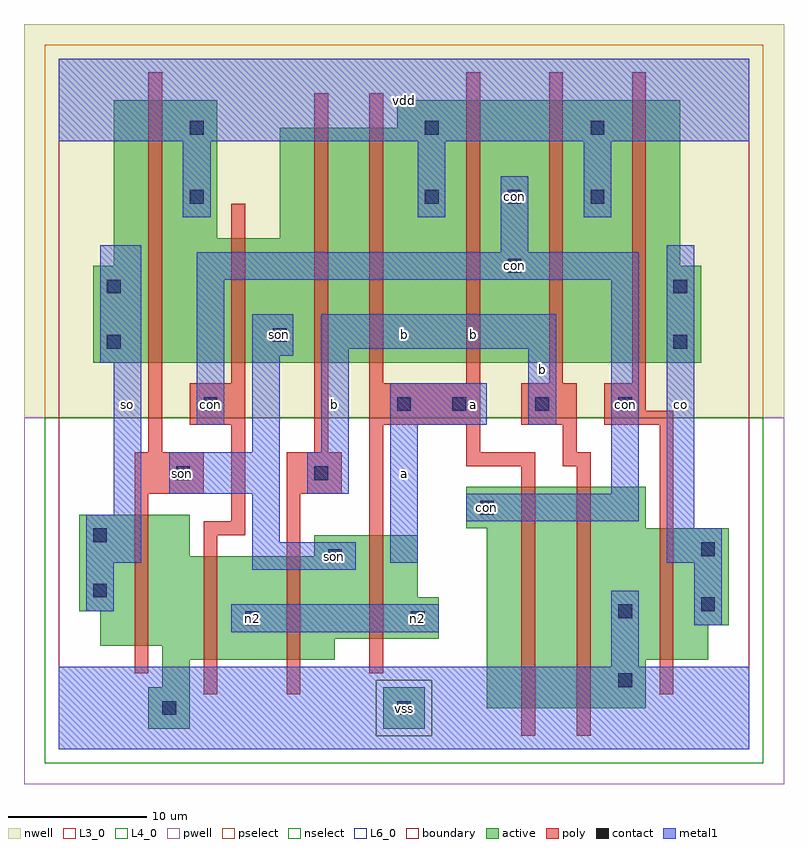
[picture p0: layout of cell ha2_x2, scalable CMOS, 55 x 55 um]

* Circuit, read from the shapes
.subckt ha2_x2 a b co con n2 so son vdd vss
M1 vss son so vss nfet w=9.5u l=1u
M2 n2 con vss vss nfet w=7.5u l=1u
M3 son b n2 vss nfet w=7.5u l=1u
M4 n2 a son vss nfet w=7.5u l=1u
M5 n1 a con vss nfet w=16u l=1u
M6 vss b n1 vss nfet w=16u l=1u
M7 co con vss vss nfet w=9.5u l=1u
M8 vdd son so n3 pfet w=19u l=1u
M9 son con vdd n3 pfet w=9u l=1u
M10 n4 b son n3 pfet w=17u l=1u
M11 vdd a n4 n3 pfet w=17u l=1u
M12 con a vdd n3 pfet w=19u l=1u
M13 vdd b con n3 pfet w=19u l=1u
M14 co con vdd n3 pfet w=19u l=1u
.ends

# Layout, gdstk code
import gdstk
lib = gdstk.Library(unit=1e-6, precision=1e-09)
def R(c, l, rs):  # rectangles x0, y0, x1, y1
    for r in rs: c.add(gdstk.rectangle(r[:2], r[2:], *l))
def A(c, l, x, y, w, h, nx, ny, dx, dy):  # array of equal rectangles
    R(c, l, [(x+i*dx, y+j*dy, x+i*dx+w, y+j*dy+h) for i in range(nx) for j in range(ny)])
L3_0 = (3, 0)
L4_0 = (4, 0)
L6_0 = (6, 0)
contact = (25, 0)
pwell = (41, 0)
nwell = (42, 0)
active = (43, 0)
pselect = (44, 0)
nselect = (45, 0)
poly = (46, 0)
metal1 = (49, 0)
boundary = (63, 0)

ha2_x2 = lib.new_cell('ha2_x2')
R(ha2_x2, L3_0, [(6.5,1.5,9.5,4.5), (31,3,42.5,6.5), (7.5,4.5,9.5,6.5), (7.5,6.5,20,7.5), (31,6.5,47,9), (3,7.5,20,8), (3,8,27.5,10), (31,9,48.5,16), (1.5,10,27.5,11), (1.5,11,26,14), (1.5,14,9.5,17), (18.5,14,26,15.5), (29.5,16,42.5,19)])
R(ha2_x2, L4_0, [(2.5,28,46.5,35), (4,35,45,37), (4,37,11.5,47), (16,37,45,45), (24.5,45,45,47)])
R(ha2_x2, L6_0, [(23.5,1.5,26.5,4.5)])
A(ha2_x2, contact, 28.5, 24.5, 1, 1, 3, 1, 6, 0)
A(ha2_x2, contact, 26.5, 39.5, 1, 1, 3, 1, 6, 0)
R(ha2_x2, contact, [(7.5,2.5,8.5,3.5), (24.5,2.5,25.5,3.5), (40.5,4.5,41.5,5.5), (13.5,9,14.5,10), (25.5,9,26.5,10), (40.5,9.5,41.5,10.5), (46.5,10,47.5,11), (2.5,11,3.5,12), (19.5,13.5,20.5,14.5), (46.5,14,47.5,15), (2.5,15,3.5,16), (30.5,17,31.5,18), (8.5,19.5,9.5,20.5), (18.5,19.5,19.5,20.5), (10.5,24.5,11.5,25.5), (24.5,24.5,25.5,25.5), (3.5,29,4.5,30), (44.5,29,45.5,30), (15.5,29.5,16.5,30.5), (3.5,33,4.5,34), (44.5,33,45.5,34), (32.5,34.5,33.5,35.5), (9.5,39.5,10.5,40.5), (9.5,44.5,10.5,45.5), (26.5,44.5,27.5,45.5), (38.5,44.5,39.5,45.5)])
R(ha2_x2, pwell, [(-2.5,-2.5,52.5,24)])
R(ha2_x2, nwell, [(-2.5,24,52.5,52.5)])
R(ha2_x2, active, [(6.5,1.5,9.5,4.5), (23.5,1.5,26.5,4.5), (31,3,42.5,6.5), (7.5,4.5,9.5,6.5), (7.5,6.5,20,7.5), (31,6.5,47,9), (3,7.5,20,8), (3,8,27.5,10), (31,9,48.5,16), (1.5,10,27.5,11), (1.5,11,26,14), (1.5,14,9.5,17), (18.5,14,26,15.5), (29.5,16,42.5,19), (2.5,28,46.5,35), (4,35,45,37), (4,37,11.5,47), (16,37,45,45), (24.5,45,45,47)])
R(ha2_x2, pselect, [(23,1,27,5), (-1,24,51,51)])
R(ha2_x2, nselect, [(-1,-1,51,1), (-1,1,23,5), (27,1,51,5), (-1,5,51,24)])
A(ha2_x2, poly, 29.5, 26.5, 1, 22.5, 3, 1, 6, 0)
R(ha2_x2, poly, [(33.5,1,34.5,20.5), (37.5,1,38.5,20.5), (10.5,4,11.5,15.5), (16.5,4,17.5,18.5), (43.5,4,44.5,23.5), (5.5,5.5,6.5,18.5), (22.5,5.5,23.5,23.5), (10.5,15.5,13.5,16.5), (12.5,16.5,13.5,23.5), (5.5,18.5,10.5,21.5), (16.5,18.5,20.5,21.5), (29.5,20.5,34.5,21.5), (36.5,20.5,38.5,21.5), (6.5,21.5,7.5,49), (18.5,21.5,19.5,47.5), (29.5,21.5,30.5,23.5), (36.5,21.5,37.5,23.5), (9.5,23.5,13.5,26.5), (22.5,23.5,30.5,26.5), (33.5,23.5,37.5,26.5), (39.5,23.5,44.5,24.5), (39.5,24.5,42.5,26.5), (12.5,26.5,13.5,39.5), (22.5,26.5,23.5,47.5)])
R(ha2_x2, metal1, [(0,0,50,6), (0,0,50,6), (40,6,42,11.5), (40,6,42,11.5), (12.5,8.5,27.5,10.5), (12.5,8.5,27.5,10.5), (46,9,48,13.5), (46,9,48,13.5), (2,10,4,13.5), (2,10,4,13.5), (14,13,21.5,15), (14,13,21.5,15), (2,13.5,6,17), (2,13.5,6,17), (24,13.5,26,23.5), (24,13.5,26,23.5), (44,13.5,48,16), (44,13.5,48,16), (14,15,16,18.5), (14,15,16,18.5), (44,16,46,36.5), (44,16,46,36.5), (29.5,16.5,42,18.5), (29.5,16.5,42,18.5), (4,17,6,28), (4,17,6,28), (8,18.5,16,21.5), (8,18.5,16,21.5), (18,18.5,21,21.5), (18,18.5,21,21.5), (40,18.5,42,34), (40,18.5,42,34), (14,21.5,16,28.5), (14,21.5,16,28.5), (19,21.5,21,29), (19,21.5,21,29), (10,23.5,12,34), (10,23.5,12,34), (24,23.5,31,26.5), (24,23.5,31,26.5), (34,23.5,36,29), (34,23.5,36,29), (3,28,6,36.5), (3,28,6,36.5), (14,28.5,17,31.5), (14,28.5,17,31.5), (19,29,36,31.5), (19,29,36,31.5), (10,34,42,36), (10,34,42,36), (32,36,34,41.5), (32,36,34,41.5), (9,38.5,11,44), (9,38.5,11,44), (26,38.5,28,44), (26,38.5,28,44), (38,38.5,40,44), (38,38.5,40,44), (0,44,50,50), (0,44,50,50)])
R(ha2_x2, boundary, [(0,0,50,50)])
ha2_x2.add(gdstk.Label('son', (9,20), layer=49, texttype=0))
ha2_x2.add(gdstk.Label('con', (11,25), layer=49, texttype=0))
ha2_x2.add(gdstk.Label('n2', (14,9.5), layer=49, texttype=0))
ha2_x2.add(gdstk.Label('son', (20,14), layer=49, texttype=0))
ha2_x2.add(gdstk.Label('son', (16,30), layer=49, texttype=0))
ha2_x2.add(gdstk.Label('n2', (26,9.5), layer=49, texttype=0))
ha2_x2.add(gdstk.Label('con', (31,17.5), layer=49, texttype=0))
ha2_x2.add(gdstk.Label('con', (33,35), layer=49, texttype=0))
ha2_x2.add(gdstk.Label('con', (33,40), layer=49, texttype=0))
ha2_x2.add(gdstk.Label('con', (41,25), layer=49, texttype=0))
ha2_x2.add(gdstk.Label('so', (5,25), layer=49, texttype=0))
ha2_x2.add(gdstk.Label('b', (20,25), layer=49, texttype=0))
ha2_x2.add(gdstk.Label('vss', (25,3), layer=49, texttype=0))
ha2_x2.add(gdstk.Label('a', (25,20), layer=49, texttype=0))
ha2_x2.add(gdstk.Label('a', (30,25), layer=49, texttype=0))
ha2_x2.add(gdstk.Label('b', (25,30), layer=49, texttype=0))
ha2_x2.add(gdstk.Label('b', (30,30), layer=49, texttype=0))
ha2_x2.add(gdstk.Label('b', (35,27.5), layer=49, texttype=0))
ha2_x2.add(gdstk.Label('vdd', (25,47), layer=49, texttype=0))
ha2_x2.add(gdstk.Label('co', (45,25), layer=49, texttype=0))

lib.write_gds('ha2_x2.gds')
